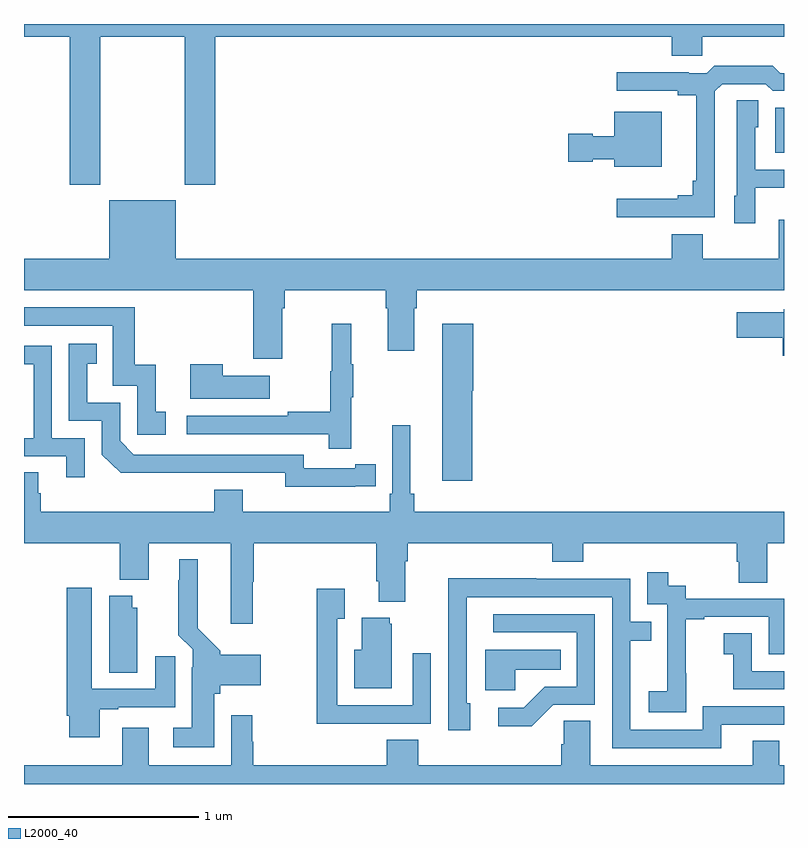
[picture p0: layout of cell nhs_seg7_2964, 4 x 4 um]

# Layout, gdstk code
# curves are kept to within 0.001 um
import gdstk
lib = gdstk.Library(unit=1e-6, precision=1e-09)
def R(c, l, rs):  # rectangles x0, y0, x1, y1
    for r in rs: c.add(gdstk.rectangle(r[:2], r[2:], *l))
def P(c, l, *ps):  # polygons
    for p in ps: c.add(gdstk.Polygon(p, *l))
L2000_40 = (2000, 40)

nhs_seg7_2964 = lib.new_cell('nhs_seg7_2964')
R(nhs_seg7_2964, L2000_40, [(304.955,1017.323,305,1017.559)])
P(nhs_seg7_2964, L2000_40, [(301.401,1017.932),(301.846,1017.932),(301.846,1017.153),(302.006,1017.153),(302.006,1017.932),(304.409,1017.932),(304.409,1017.834),(304.569,1017.834),(304.569,1017.932),(305,1017.932),(305,1018),(301,1018),(301,1017.932),(301.241,1017.932),(301.241,1017.153),(301.401,1017.153)],
  [(304.635,1017.645),(304.674,1017.684),(304.905,1017.684),(304.941,1017.648),(305,1017.648),(305,1017.741),(304.98,1017.741),(304.941,1017.781),(304.633,1017.781),(304.593,1017.741),(304.499,1017.741),(304.499,1017.746),(304.119,1017.746),(304.119,1017.648),(304.442,1017.648),(304.442,1017.626),(304.538,1017.626),(304.538,1017.175),(304.519,1017.175),(304.519,1017.098),(304.442,1017.098),(304.442,1017.079),(304.119,1017.079),(304.119,1016.982),(304.635,1016.982)],
  [(304.848,1017.137),(305,1017.137),(305,1017.234),(304.848,1017.234),(304.848,1017.456),(304.864,1017.456),(304.864,1017.599),(304.752,1017.599),(304.752,1017.096),(304.739,1017.096),(304.739,1016.952),(304.848,1016.952)],
  [(304.357,1017.538),(304.106,1017.538),(304.106,1017.409),(303.993,1017.409),(303.993,1017.422),(303.864,1017.422),(303.864,1017.275),(303.993,1017.275),(303.993,1017.287),(304.106,1017.287),(304.106,1017.248),(304.357,1017.248)],
  [(302.359,1016.504),(302.372,1016.504),(302.372,1016.6),(302.903,1016.6),(302.903,1016.504),(302.915,1016.504),(302.915,1016.28),(303.055,1016.28),(303.055,1016.504),(303.068,1016.504),(303.068,1016.6),(305,1016.6),(305,1016.971),(304.973,1016.971),(304.973,1016.764),(304.573,1016.764),(304.573,1016.893),(304.409,1016.893),(304.409,1016.764),(301.798,1016.764),(301.798,1017.073),(301.448,1017.073),(301.448,1016.764),(301,1016.764),(301,1016.6),(302.207,1016.6),(302.207,1016.238),(302.359,1016.238)],
  [(301.747,1015.959),(301.694,1015.959),(301.694,1016.206),(301.583,1016.206),(301.583,1016.508),(301,1016.508),(301,1016.412),(301.467,1016.412),(301.467,1016.097),(301.596,1016.097),(301.596,1015.839),(301.747,1015.839)],
  [(305,1016.5),(304.998,1016.5),(304.998,1016.482),(304.752,1016.482),(304.752,1016.348),(304.994,1016.348),(304.994,1016.255),(305,1016.255)],
  [(303.359,1016.07),(303.364,1016.07),(303.364,1016.422),(303.2,1016.422),(303.2,1015.596),(303.359,1015.596)],
  [(302.723,1016.035),(302.734,1016.035),(302.734,1016.209),(302.723,1016.209),(302.723,1016.422),(302.62,1016.422),(302.62,1016.172),(302.613,1016.172),(302.613,1015.958),(302.389,1015.958),(302.389,1015.938),(301.857,1015.938),(301.857,1015.842),(302.605,1015.842),(302.605,1015.764),(302.723,1015.764)],
  [(302.744,1015.566),(302.852,1015.566),(302.852,1015.682),(302.744,1015.682),(302.744,1015.662),(302.472,1015.662),(302.472,1015.734),(301.578,1015.734),(301.506,1015.806),(301.506,1016.007),(301.333,1016.007),(301.333,1016.211),(301.382,1016.211),(301.382,1016.317),(301.236,1016.317),(301.236,1015.911),(301.41,1015.911),(301.41,1015.734),(301.508,1015.637),(302.376,1015.638),(302.376,1015.565)],
  [(301.32,1015.821),(301.146,1015.821),(301.146,1016.307),(301,1016.307),(301,1016.21),(301.05,1016.21),(301.05,1015.821),(301,1015.821),(301,1015.725),(301.223,1015.725),(301.223,1015.614),(301.32,1015.614)],
  [(302.293,1016.149),(302.045,1016.149),(302.045,1016.209),(301.874,1016.209),(301.874,1016.027),(302.293,1016.027)],
  [(302.205,1015.064),(302.21,1015.064),(302.21,1015.268),(302.855,1015.268),(302.855,1015.066),(302.867,1015.066),(302.867,1014.959),(303.007,1014.959),(303.007,1015.172),(303.02,1015.172),(303.02,1015.268),(303.779,1015.268),(303.779,1015.169),(303.944,1015.169),(303.944,1015.268),(304.751,1015.268),(304.751,1015.17),(304.763,1015.17),(304.763,1015.06),(304.911,1015.06),(304.911,1015.268),(305,1015.268),(305,1015.432),(303.053,1015.432),(303.053,1015.528),(303.034,1015.528),(303.034,1015.888),(302.937,1015.888),(302.937,1015.528),(302.924,1015.528),(302.924,1015.432),(302.152,1015.432),(302.152,1015.549),(302,1015.549),(302,1015.432),(301.088,1015.432),(301.088,1015.53),(301.075,1015.53),(301.075,1015.64),(301,1015.64),(301,1015.268),(301.505,1015.268),(301.505,1015.076),(301.657,1015.076),(301.657,1015.268),(302.087,1015.268),(302.087,1014.843),(302.205,1014.843)],
  [(302.002,1014.474),(302.033,1014.474),(302.033,1014.521),(302.245,1014.521),(302.245,1014.679),(302.033,1014.679),(302.033,1014.702),(301.915,1014.82),(301.915,1015.183),(301.817,1015.183),(301.817,1015.073),(301.813,1015.073),(301.813,1014.782),(301.887,1014.708),(301.887,1014.614),(301.883,1014.614),(301.883,1014.295),(301.785,1014.295),(301.785,1014.194),(302.002,1014.194)],
  [(304.485,1014.583),(304.484,1014.583),(304.484,1014.867),(304.579,1014.867),(304.579,1014.879),(304.92,1014.879),(304.92,1014.684),(305,1014.684),(305,1014.975),(304.482,1014.975),(304.482,1015.044),(304.39,1015.044),(304.39,1015.114),(304.281,1015.114),(304.281,1014.945),(304.386,1014.945),(304.386,1014.716),(304.385,1014.716),(304.385,1014.487),(304.287,1014.487),(304.287,1014.377),(304.485,1014.377)],
  [(304.669,1014.312),(305,1014.312),(305,1014.408),(304.572,1014.408),(304.572,1014.285),(304.191,1014.285),(304.191,1014.754),(304.301,1014.754),(304.301,1014.855),(304.191,1014.855),(304.191,1015.08),(303.695,1015.08),(303.695,1015.082),(303.232,1015.082),(303.232,1014.775),(303.234,1014.775),(303.234,1014.282),(303.349,1014.282),(303.349,1014.426),(303.33,1014.426),(303.33,1014.745),(303.331,1014.745),(303.331,1014.984),(304.095,1014.984),(304.095,1014.189),(304.669,1014.189)],
  [(301.399,1014.393),(301.495,1014.393),(301.495,1014.405),(301.795,1014.405),(301.795,1014.673),(301.691,1014.673),(301.691,1014.501),(301.357,1014.501),(301.357,1015.033),(301.226,1015.033),(301.226,1014.358),(301.238,1014.358),(301.238,1014.246),(301.399,1014.246)],
  [(302.825,1014.318),(303.141,1014.318),(303.141,1014.688),(303.045,1014.688),(303.045,1014.414),(302.649,1014.414),(302.649,1014.871),(302.689,1014.871),(302.689,1015.027),(302.541,1015.027),(302.541,1014.317),(302.825,1014.317)],
  [(301.597,1014.927),(301.57,1014.927),(301.57,1014.991),(301.448,1014.991),(301.448,1014.586),(301.597,1014.586)],
  [(303.786,1014.417),(304.005,1014.417),(304.005,1014.894),(303.471,1014.894),(303.471,1014.798),(303.909,1014.798),(303.909,1014.513),(303.74,1014.513),(303.629,1014.402),(303.495,1014.402),(303.495,1014.305),(303.673,1014.305)],
  [(302.935,1014.843),(302.924,1014.843),(302.924,1014.874),(302.777,1014.874),(302.777,1014.706),(302.738,1014.706),(302.738,1014.503),(302.935,1014.503)],
  [(305,1014.594),(304.83,1014.594),(304.83,1014.793),(304.683,1014.793),(304.683,1014.683),(304.732,1014.683),(304.732,1014.498),(305,1014.498)],
  [(303.585,1014.602),(303.824,1014.602),(303.824,1014.706),(303.428,1014.706),(303.428,1014.494),(303.585,1014.494)],
  [(303.84,1014.332),(303.84,1014.209),(303.827,1014.209),(303.827,1014.1),(303.074,1014.1),(303.074,1014.233),(302.909,1014.233),(302.909,1014.1),(302.207,1014.1),(302.207,1014.222),(302.2,1014.222),(302.2,1014.361),(302.091,1014.361),(302.091,1014.1),(301.657,1014.1),(301.657,1014.295),(301.517,1014.295),(301.517,1014.1),(301,1014.1),(301,1014),(305,1014),(305,1014.1),(304.974,1014.1),(304.974,1014.227),(304.835,1014.227),(304.835,1014.1),(303.979,1014.1),(303.979,1014.332)])

lib.write_gds('nhs_seg7_2964.gds')
